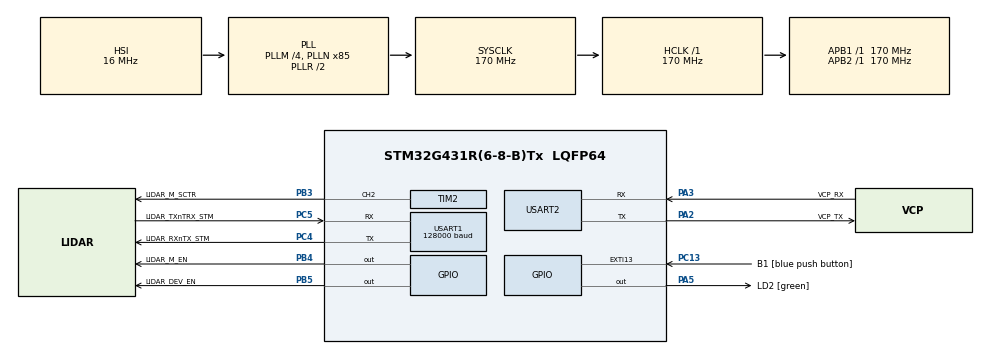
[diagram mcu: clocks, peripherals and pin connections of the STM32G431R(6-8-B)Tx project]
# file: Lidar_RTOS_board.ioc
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Dma.Request0=USART1_RX
Dma.USART1_RX.0.Direction=DMA_PERIPH_TO_MEMORY
Dma.USART1_RX.0.EventEnable=DISABLE
Dma.USART1_RX.0.Instance=DMA1_Channel2
Dma.USART1_RX.0.MemDataAlignment=DMA_MDATAALIGN_BYTE
Dma.USART1_RX.0.MemInc=DMA_MINC_ENABLE
Dma.USART1_RX.0.Mode=DMA_CIRCULAR
Dma.USART1_RX.0.PeriphDataAlignment=DMA_PDATAALIGN_BYTE
Dma.USART1_RX.0.PeriphInc=DMA_PINC_DISABLE
Dma.USART1_RX.0.Polarity=HAL_DMAMUX_REQ_GEN_RISING
Dma.USART1_RX.0.Priority=DMA_PRIORITY_VERY_HIGH
Dma.USART1_RX.0.RequestNumber=1
Dma.USART1_RX.0.SignalID=NONE
Dma.USART1_RX.0.SyncEnable=DISABLE
Dma.USART1_RX.0.SyncPolarity=HAL_DMAMUX_SYNC_NO_EVENT
Dma.USART1_RX.0.SyncRequestNumber=1
Dma.USART1_RX.0.SyncSignalID=NONE
FREERTOS.Tasks01=defaultTask,0,128,StartDefaultTask,Default,NULL,Dynamic,NULL,NULL
FREERTOS.configUSE_NEWLIB_REENTRANT=1
Mcu.Family=STM32G4
Mcu.Name=STM32G431R(6-8-B)Tx
Mcu.Package=LQFP64
NVIC.DMA1_Channel2_IRQn=true\:5\:0\:false\:false\:true\:true\:false\:true\:true
NVIC.PriorityGroup=NVIC_PRIORITYGROUP_4
NVIC.TIM1_UP_TIM16_IRQn=true\:15\:0\:false\:false\:true\:false\:false\:true\:true
NVIC.TimeBase=TIM1_UP_TIM16_IRQn
NVIC.TimeBaseIP=TIM1
PA13.GPIO_Label=T_SWDIO
PA13.Mode=Serial_Wire
PA13.Signal=SYS_JTMS-SWDIO
PA14.GPIO_Label=T_SWCLK
PA14.Mode=Serial_Wire
PA14.Signal=SYS_JTCK-SWCLK
PA2.GPIO_Label=VCP_TX
PA2.Mode=Asynchronous
PA2.Signal=USART2_TX
PA3.GPIO_Label=VCP_RX
PA3.Mode=Asynchronous
PA3.Signal=USART2_RX
PA5.GPIO_Label=LD2 [green]
PA5.Signal=GPIO_Output
PB3.GPIO_Label=LIDAR_M_SCTR
PB3.Signal=S_TIM2_CH2
PB4.GPIO_Label=LIDAR_M_EN
PB4.Signal=GPIO_Output
PB5.GPIO_Label=LIDAR_DEV_EN
PB5.Signal=GPIO_Output
PC13.GPIO_Label=B1 [blue push button]
PC13.Signal=GPXTI13
PC14-OSC32_IN.GPIO_Label=RCC_OSC32_OUT
PC14-OSC32_IN.Signal=RCC_OSC32_IN
PC15-OSC32_OUT.GPIO_Label=RCC_OSC32_OUT
PC15-OSC32_OUT.Signal=RCC_OSC32_OUT
PC4.GPIO_Label=LIDAR_RXnTX_STM
PC4.Mode=Asynchronous
PC4.Signal=USART1_TX
PC5.GPIO_Label=LIDAR_TXnTRX_STM
PC5.Mode=Asynchronous
PC5.Signal=USART1_RX
PF0-OSC_IN.GPIO_Label=RCC_OSC_IN
PF0-OSC_IN.Mode=HSE-External-Oscillator
PF0-OSC_IN.Signal=RCC_OSC_IN
PF1-OSC_OUT.GPIO_Label=RCC_OSC_OUT
PF1-OSC_OUT.Mode=HSE-External-Oscillator
PF1-OSC_OUT.Signal=RCC_OSC_OUT
ProjectManager.HeapSize=0x200
ProjectManager.StackSize=0x400
ProjectManager.TargetToolchain=STM32CubeIDE
RCC.ADC12Freq_Value=170000000
RCC.AHBFreq_Value=170000000
RCC.APB1Freq_Value=170000000
RCC.APB1TimFreq_Value=170000000
RCC.APB2Freq_Value=170000000
RCC.APB2TimFreq_Value=170000000
RCC.CortexFreq_Value=170000000
RCC.EXTERNAL_CLOCK_VALUE=12288000
RCC.HCLKFreq_Value=170000000
RCC.HSE_VALUE=24000000
RCC.HSI48_VALUE=48000000
RCC.HSI_VALUE=16000000
RCC.LSE_VALUE=32768
RCC.PLLM=RCC_PLLM_DIV4
RCC.PLLN=85
RCC.RTCClockSelection=RCC_RTCCLKSOURCE_LSE
RCC.SYSCLKFreq_VALUE=170000000
RCC.SYSCLKSource=RCC_SYSCLKSOURCE_PLLCLK
RCC.USBFreq_Value=170000000
RCC.VCOOutputFreq_Value=340000000
SH.S_TIM2_CH2.0=TIM2_CH2,PWM Generation2 CH2
TIM2.AutoReloadPreload=TIM_AUTORELOAD_PRELOAD_ENABLE
TIM2.Channel-PWM\ Generation2\ CH2=TIM_CHANNEL_2
TIM2.PeriodNoDither=170000-1
TIM2.PulseNoDither_2=85000
USART1.BaudRate=128000
USART1.SwapParam=ADVFEATURE_SWAP_DISABLE
USART1.VirtualMode-Asynchronous=VM_ASYNC
USART2.VirtualMode-Asynchronous=VM_ASYNC
VP_FREERTOS_VS_CMSIS_V1.Mode=CMSIS_V1
VP_SYS_VS_DBSignals.Mode=DisableDeadBatterySignals
VP_SYS_VS_tim1.Mode=TIM1
VP_TIM2_VS_ClockSourceINT.Mode=Internal
board=NUCLEO-G431RB

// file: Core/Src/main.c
/* USER CODE BEGIN Header */
/**
  ******************************************************************************
  * @file           : main.c
  * @brief          : Main program body
  ******************************************************************************
  * @attention
  *
  * Copyright (c) 2024 STMicroelectronics.
  * All rights reserved.
  *
  * This software is licensed under terms that can be found in the LICENSE file
  * in the root directory of this software component.
  * If no LICENSE file comes with this software, it is provided AS-IS.
  *
  ******************************************************************************
  */
/* USER CODE END Header */
#include "main.h"
#include "cmsis_os.h"
#include "dma.h"
#include "tim.h"
#include "usart.h"
#include "gpio.h"

/* USER CODE BEGIN Includes */
#include "drv_LIDAR.h"
/* USER CODE END Includes */

/* USER CODE BEGIN PD */
#define STACK_SIZE 256 //! Taille du stack fournie aux taches par FreeRTOS
/* USER CODE END PD */

/* USER CODE BEGIN PV */

h_LIDAR_t h_LIDAR; //! Le handel du LIDAR

SemaphoreHandle_t SemHalfCallBack; //! Semaphore Handle pour la réception DMA de moitiée
SemaphoreHandle_t SemClpCallBack; //! Semaphore Handle pour la réception DMA totale

int frame_start = 0; //! Indice du début de trame
int frame_end = 0; //! Indice de fin de trame

TaskHandle_t xHandleLIDAR = NULL; //! Handle de la tache gérant le LIDAR

BaseType_t ret; //! Valeur retournée lors de la création des taches

/* USER CODE END PV */

void SystemClock_Config(void);
void MX_FREERTOS_Init(void);
/* USER CODE BEGIN PFP */

/**
 * Redirige les printf sur l'UART1
 */
int __io_putchar(int chr)
{
	HAL_UART_Transmit(&huart2, (uint8_t*)&chr, 1, HAL_MAX_DELAY);
	return chr;
}
/**
 * Polling transmit sur l'UART4
 */
int uart_transmit(uint8_t *p_data, uint16_t size){
	HAL_UART_Transmit(&huart1, p_data, size, HAL_MAX_DELAY);
	return 0;
}
/**
 * Interrupt transmit sur l'UART4
 */
int uart_it_transmit(uint8_t *p_data, uint16_t size){
	HAL_UART_Transmit_IT(&huart1, p_data, size);
	return 0;
}
/**
 * DMA transmit sur l'UART4
 */
int uart_dma_transmit(uint8_t *p_data, uint16_t size){
	HAL_UART_Transmit_DMA(&huart1, p_data, size);
	return 0;
}
/**
 * Polling receive sur l'UART4
 */
int uart_poll_receive(uint8_t *p_data, uint16_t size){
	HAL_UART_Receive(&huart1, p_data, size, HAL_MAX_DELAY);
	return 0;
}
/**
 * Interrupt receive sur l'UART4
 */
int uart_it_receive(uint8_t *p_data, uint16_t size){
	HAL_UART_Receive_IT(&huart1, p_data, size);
	return 0;
}
/**
 * DMA receive sur l'UART4
 */
int uart_dma_receive(uint8_t *p_data, uint16_t size){
	HAL_UART_Receive_DMA(&huart1, p_data, size);
	return 0;
}

/* USER CODE END PFP */

int main(void)
{

  /* MCU Configuration--------------------------------------------------------*/

  /* Reset of all peripherals, Initializes the Flash interface and the Systick. */
  HAL_Init();

  /* Configure the system clock */
  SystemClock_Config();

  /* Initialize all configured peripherals */
  MX_GPIO_Init();
  MX_DMA_Init();
  MX_TIM2_Init();
  MX_USART1_UART_Init();
  MX_USART2_UART_Init();
  /* USER CODE BEGIN 2 */

	h_LIDAR.serial_drv.transmit=uart_transmit;
	h_LIDAR.serial_drv.it_transmit=uart_it_transmit;
	h_LIDAR.serial_drv.dma_transmit=uart_dma_transmit;
	h_LIDAR.serial_drv.poll_receive=uart_poll_receive;
	h_LIDAR.serial_drv.it_receive=uart_it_receive;
	h_LIDAR.serial_drv.dma_receive=uart_dma_receive;

	printf("\r\n===== Driver_LIDAR =====\r\n");

	LIDAR_stop(&h_LIDAR);
	HAL_Delay(1000);
	LIDAR_get_info(&h_LIDAR); //! Récupère les infos du LIDAR
	LIDAR_get_health_stat(&h_LIDAR); //! Récupère l'état du LIDAR

  /* USER CODE END 2 */

  /* Call init function for freertos objects (in cmsis_os2.c) */
  MX_FREERTOS_Init();

  /* Start scheduler */
  osKernelStart();

  /* We should never get here as control is now taken by the scheduler */

  /* Infinite loop */
  while (1)
  {

  }
}

void SystemClock_Config(void)
{
  RCC_OscInitTypeDef RCC_OscInitStruct = {0};
  RCC_ClkInitTypeDef RCC_ClkInitStruct = {0};

  /** Configure the main internal regulator output voltage
  */
  HAL_PWREx_ControlVoltageScaling(PWR_REGULATOR_VOLTAGE_SCALE1_BOOST);

  /** Initializes the RCC Oscillators according to the specified parameters
  * in the RCC_OscInitTypeDef structure.
  */
  RCC_OscInitStruct.OscillatorType = RCC_OSCILLATORTYPE_HSI;
  RCC_OscInitStruct.HSIState = RCC_HSI_ON;
  RCC_OscInitStruct.HSICalibrationValue = RCC_HSICALIBRATION_DEFAULT;
  RCC_OscInitStruct.PLL.PLLState = RCC_PLL_ON;
  RCC_OscInitStruct.PLL.PLLSource = RCC_PLLSOURCE_HSI;
  RCC_OscInitStruct.PLL.PLLM = RCC_PLLM_DIV4;
  RCC_OscInitStruct.PLL.PLLN = 85;
  RCC_OscInitStruct.PLL.PLLP = RCC_PLLP_DIV2;
  RCC_OscInitStruct.PLL.PLLQ = RCC_PLLQ_DIV2;
  RCC_OscInitStruct.PLL.PLLR = RCC_PLLR_DIV2;
  if (HAL_RCC_OscConfig(&RCC_OscInitStruct) != HAL_OK)
  {
    Error_Handler();
  }

  /** Initializes the CPU, AHB and APB buses clocks
  */
  RCC_ClkInitStruct.ClockType = RCC_CLOCKTYPE_HCLK|RCC_CLOCKTYPE_SYSCLK
                              |RCC_CLOCKTYPE_PCLK1|RCC_CLOCKTYPE_PCLK2;
  RCC_ClkInitStruct.SYSCLKSource = RCC_SYSCLKSOURCE_PLLCLK;
  RCC_ClkInitStruct.AHBCLKDivider = RCC_SYSCLK_DIV1;
  RCC_ClkInitStruct.APB1CLKDivider = RCC_HCLK_DIV1;
  RCC_ClkInitStruct.APB2CLKDivider = RCC_HCLK_DIV1;

  if (HAL_RCC_ClockConfig(&RCC_ClkInitStruct, FLASH_LATENCY_4) != HAL_OK)
  {
    Error_Handler();
  }
}

void HAL_TIM_PeriodElapsedCallback(TIM_HandleTypeDef *htim)
{
  if (htim->Instance == TIM1) {
    HAL_IncTick();
  }
}

void Error_Handler(void)
{
  __disable_irq();
  while (1)
  {
  }
}
